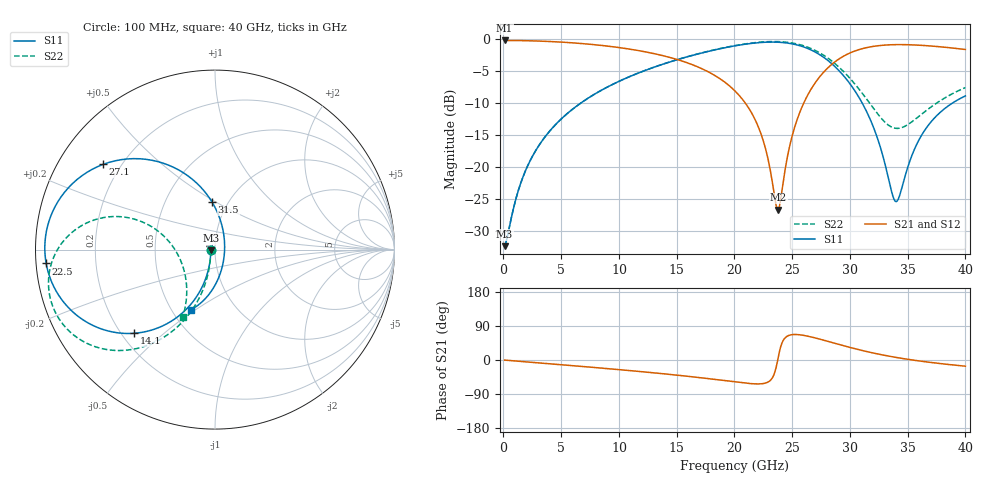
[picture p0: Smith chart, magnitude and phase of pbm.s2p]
! E_s8_L1L3_p1000_oval_g2: reduced via model, differential mode (per line 50 ohm)
# Hz S RI R 50
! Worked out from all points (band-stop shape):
!   400 points, 100 MHz to 40 GHz, reference 50 ohm
!   highest |S21| = -0.21 dB at 100 MHz (marker M1); lowest = -26.7 dB at 23.8 GHz (marker M2)
!   |S21| within 3 dB of the highest: start of sweep to 15.07 GHz; 28.97 GHz to end of sweep
!   lowest |S11| = -32.4 dB at 100 MHz (marker M3), VSWR 1.05, Z = 47.7 - j0.442 ohm
!   |S11| at or under -10 dB: start of sweep to 6.697 GHz; 31.06 GHz to 38.88 GHz (7.814 GHz wide, 22.3 % of centre)
!   |S22| runs from -32.4 to -0.4 dB; largest |S21 - S12| = 0
!   S11 on the Smith chart (normalised r, x): 100 MHz: 0.95, -0.01; 14.1 GHz: 0.25, -0.40; 22.5 GHz: 0.03, -0.04; 27.1 GHz: 0.14, +0.33; 31.5 GHz: 0.84, +0.48; 40 GHz: 0.62, -0.48
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1e8  -0.0236 -0.00463  0.9764 -0.00421  0.9764 -0.00421  -0.0236 -0.00465
1.3e9  -0.0274 -0.0601  0.973 -0.0546  0.973 -0.0546  -0.0266 -0.0604
2.5e9  -0.0376 -0.1148  0.9637 -0.1044  0.9637 -0.1044  -0.0348 -0.1156
6.8e9  -0.1266 -0.295  0.8831 -0.2697  0.8831 -0.2697  -0.1061 -0.3029
1.34e10  -0.4122 -0.4619  0.6208 -0.4342  0.6208 -0.4342  -0.3399 -0.518
1.41e10  -0.4522 -0.4664  0.5835 -0.4409  0.5835 -0.4409  -0.3736 -0.5322
1.73e10  -0.6534 -0.4344  0.3914 -0.4285  0.3914 -0.4285  -0.55 -0.5621
2.01e10  -0.8348 -0.3029  0.2062 -0.3298  0.2062 -0.3298  -0.7288 -0.5145
2.15e10  -0.908 -0.1852  0.1218 -0.2336  0.1218 -0.2336  -0.8171 -0.4494
2.25e10  -0.9407 -0.0768  0.0748 -0.1416  0.0748 -0.1416  -0.8719 -0.3809
2.38e10  -0.9415 0.0901  0.0458 0.00637  0.0458 0.00637  -0.9197 -0.2628
2.5e10  -0.8824 0.2551  0.0686 0.1609  0.0686 0.1609  -0.9238 -0.131
2.67e10  -0.6849 0.4469  0.2046 0.3608  0.2046 0.3608  -0.8377 0.0556
2.71e10  -0.6224 0.4751  0.253 0.3959  0.253 0.3959  -0.8016 0.0918
2.9e10  -0.304 0.4862  0.52 0.4602  0.52 0.4602  -0.5818 0.1833
3.15e10  -0.0162 0.2645  0.798 0.3216  0.798 0.3216  -0.3183 0.1038
3.25e10  0.0334 0.1527  0.8577 0.2354  0.8577 0.2354  -0.2509 0.0383
3.34e10  0.0519 0.057  0.8887 0.1572  0.8887 0.1572  -0.2089 -0.0245
3.41e10  0.0531 -0.0113  0.9007 0.099  0.9007 0.099  -0.1865 -0.0729
3.54e10  0.0333 -0.1207  0.902 0.00108  0.902 0.00108  -0.1634 -0.1573
3.64e10  0.00525 -0.1889  0.8897 -0.0642  0.8897 -0.0642  -0.1576 -0.2156
4e10  -0.1328 -0.3341  0.7962 -0.2336  0.7962 -0.2336  -0.1805 -0.3769
